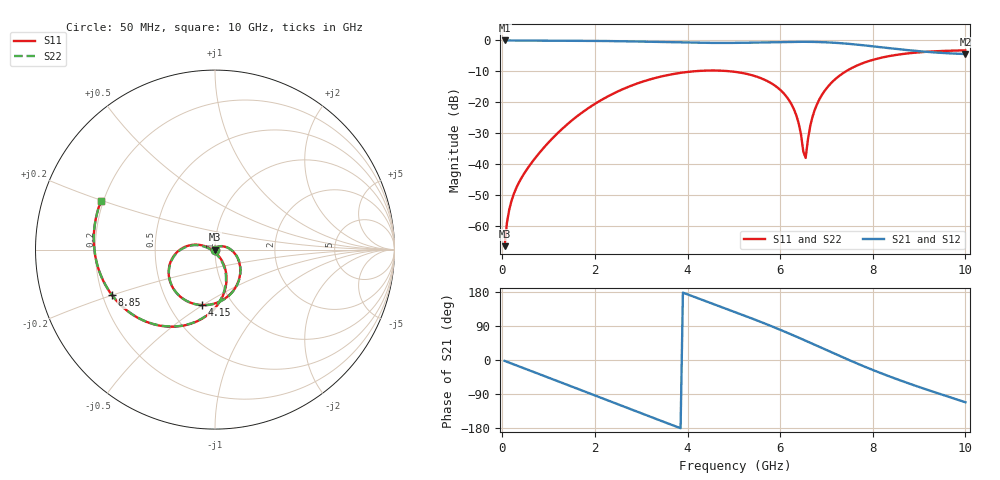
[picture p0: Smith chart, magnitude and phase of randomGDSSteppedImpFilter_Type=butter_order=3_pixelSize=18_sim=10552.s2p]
! freq	dB(S11)	phase(S11)	dB(S12)	phase(S12)
!  dB(S21)	phase(S21)	dB(S22)	phase(S22)
!S-par simulation data
#  GHz  S  DB  R 50
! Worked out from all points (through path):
!   200 points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, 50 MHz to 10 GHz, reference 50 ohm
!   highest |S21| = 0.00 dB at 50 MHz (marker M1); lowest = -4.4 dB at 10 GHz (marker M2)
!   group delay of S21, straight-line fit = 133 ps
!   lowest |S11| = -66.6 dB at 50 MHz (marker M3), VSWR 1.00, Z = 50 + j0.0417 ohm
!   |S11| at or under -10 dB: start of sweep to 4.125 GHz; 4.934 GHz to 7.419 GHz (2.485 GHz wide, 40.2 % of centre)
!   |S22| runs from -66.5 to -3.2 dB; largest |S21 - S12| = 0
!   S11 on the Smith chart (normalised r, x): 50 MHz: 1.00, +0.00; 4.15 GHz: 0.72, -0.50; 8.85 GHz: 0.24, -0.20; 10 GHz: 0.19, +0.20
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0.05  -66.56 62.6  -0.00 -2.4  -0.00 -2.4  -66.55 63.6
0.1  -59.02 66.4  -0.01 -4.7  -0.01 -4.7  -59.05 66.9
0.15  -54.73 69.3  -0.01 -7.0  -0.01 -7.0  -54.75 69.6
0.4  -44.85 68.9  -0.03 -18.7  -0.03 -18.7  -44.84 69.5
1.15  -30.66 37.2  -0.06 -53.6  -0.06 -53.6  -30.65 38.1
1.75  -23.03 8.8  -0.11 -81.7  -0.11 -81.7  -23.02 9.5
2.5  -16.45 -27.0  -0.24 -117.1  -0.24 -117.1  -16.45 -26.3
3.4  -11.77 -69.2  -0.51 -159.2  -0.51 -159.2  -11.77 -68.6
4.15  -9.97 -103.3  -0.74 166.4  -0.74 166.4  -9.96 -102.7
5.05  -10.21 -143.5  -0.78 125.5  -0.78 125.5  -10.20 -142.9
5.65  -12.62 -170.9  -0.63 97.2  -0.63 97.2  -12.61 -170.0
6.1  -17.50 168.8  -0.49 74.7  -0.49 74.7  -17.48 170.2
6.35  -24.27 161.4  -0.44 61.6  -0.44 61.6  -24.18 164.3
6.5  -35.90 -172.1  -0.43 53.6  -0.43 53.6  -34.73 -165.1
6.55  -38.00 -105.9  -0.44 50.9  -0.44 50.9  -36.25 -109.9
6.7  -24.63 -58.0  -0.46 42.8  -0.46 42.8  -24.53 -60.9
6.9  -17.67 -63.1  -0.54 31.8  -0.54 31.8  -17.65 -64.4
7.25  -11.77 -79.9  -0.82 12.7  -0.82 12.7  -11.76 -80.5
7.8  -7.26 -107.9  -1.56 -16.3  -1.56 -16.3  -7.26 -108.2
8.35  -5.07 -134.2  -2.48 -42.9  -2.48 -42.9  -5.07 -134.4
8.85  -4.04 -156.2  -3.27 -64.9  -3.27 -64.9  -4.04 -156.4
10  -3.22 156.9  -4.40 -111.5  -4.40 -111.5  -3.22 156.7
